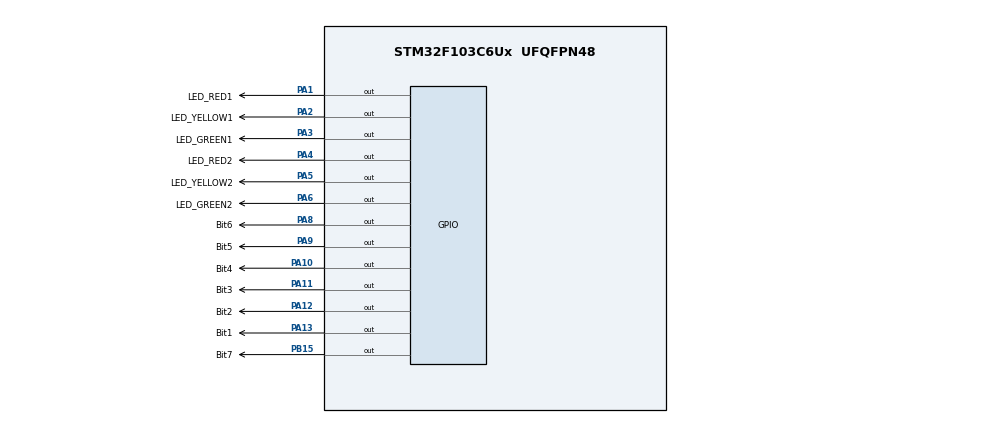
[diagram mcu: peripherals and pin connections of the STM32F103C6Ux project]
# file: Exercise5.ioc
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Mcu.Family=STM32F1
Mcu.Name=STM32F103C6Ux
Mcu.Package=UFQFPN48
NVIC.PriorityGroup=NVIC_PRIORITYGROUP_4
PA1.GPIO_Label=LED_RED1
PA1.Signal=GPIO_Output
PA10.GPIO_Label=Bit4
PA10.Signal=GPIO_Output
PA11.GPIO_Label=Bit3
PA11.Signal=GPIO_Output
PA12.GPIO_Label=Bit2
PA12.Signal=GPIO_Output
PA13.GPIO_Label=Bit1
PA13.Signal=GPIO_Output
PA2.GPIO_Label=LED_YELLOW1
PA2.Signal=GPIO_Output
PA3.GPIO_Label=LED_GREEN1
PA3.Signal=GPIO_Output
PA4.GPIO_Label=LED_RED2
PA4.Signal=GPIO_Output
PA5.GPIO_Label=LED_YELLOW2
PA5.Signal=GPIO_Output
PA6.GPIO_Label=LED_GREEN2
PA6.Signal=GPIO_Output
PA8.GPIO_Label=Bit6
PA8.Signal=GPIO_Output
PA9.GPIO_Label=Bit5
PA9.Signal=GPIO_Output
PB15.GPIO_Label=Bit7
PB15.Signal=GPIO_Output
ProjectManager.HeapSize=0x200
ProjectManager.StackSize=0x400
ProjectManager.TargetToolchain=STM32CubeIDE
RCC.APB1Freq_Value=8000000
RCC.APB2Freq_Value=8000000
VP_SYS_VS_ND.Mode=No_Debug
board=custom

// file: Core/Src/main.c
/* USER CODE BEGIN Header */
/**
  ******************************************************************************
  * @file           : main.c
  * @brief          : Main program body
  ******************************************************************************
  * @attention
  *
  * <h2><center>&copy; Copyright (c) 2025 STMicroelectronics.
  * All rights reserved.</center></h2>
  *
  * This software component is licensed by ST under BSD 3-Clause license,
  * the "License"; You may not use this file except in compliance with the
  * License. You may obtain a copy of the License at:
  *                        opensource.org/licenses/BSD-3-Clause
  *
  ******************************************************************************
  */
/* USER CODE END Header */
#include "main.h"

void SystemClock_Config(void);
static void MX_GPIO_Init(void);

int main(void)
{

  /* MCU Configuration--------------------------------------------------------*/

  /* Reset of all peripherals, Initializes the Flash interface and the Systick. */
  HAL_Init();

  /* Configure the system clock */
  SystemClock_Config();

  /* Initialize all configured peripherals */
  MX_GPIO_Init();

  /* Infinite loop */
  /* USER CODE BEGIN WHILE */
  void display7Seg(int num){
	  uint8_t segments[10]={
			 0b1111110,
			 0b0110000,
			 0b1101101,
			 0b1111001,
			 0b0110011,
			 0b1011011,
			 0b1011111,
			 0b1110000,
			 0b1111111,
			 0b1111011
	  };
	  uint8_t data = segments[num];
	    HAL_GPIO_WritePin(GPIOB, GPIO_PIN_15, !(data & 0x01));
	    HAL_GPIO_WritePin(GPIOA, GPIO_PIN_8, !(data & 0x02));
	    HAL_GPIO_WritePin(GPIOA, GPIO_PIN_9, !(data & 0x04));
	    HAL_GPIO_WritePin(GPIOA, GPIO_PIN_10, !(data & 0x08));
	    HAL_GPIO_WritePin(GPIOA, GPIO_PIN_11, !(data & 0x10));
	    HAL_GPIO_WritePin(GPIOA, GPIO_PIN_12, !(data & 0x20));
	    HAL_GPIO_WritePin(GPIOA, GPIO_PIN_13, !(data & 0x40));
  }
  void RedLightPhase() {
      for (int count = 5; count >= 0; count--) {
          HAL_GPIO_WritePin(LED_RED1_GPIO_Port, LED_RED1_Pin, RESET);
          HAL_GPIO_WritePin(LED_YELLOW1_GPIO_Port, LED_YELLOW1_Pin, SET);
    	  HAL_GPIO_WritePin(LED_GREEN1_GPIO_Port, LED_GREEN1_Pin, SET);
          HAL_GPIO_WritePin(LED_RED2_GPIO_Port, LED_RED2_Pin, SET);
          if (count <= 2) {
              HAL_GPIO_WritePin(LED_YELLOW2_GPIO_Port, LED_YELLOW2_Pin, RESET);
              HAL_GPIO_WritePin(LED_GREEN2_GPIO_Port, LED_GREEN2_Pin, SET);
          } else {
              HAL_GPIO_WritePin(LED_YELLOW2_GPIO_Port, LED_YELLOW2_Pin, SET);
              HAL_GPIO_WritePin(LED_GREEN2_GPIO_Port, LED_GREEN2_Pin, RESET);
          }
          display7Seg(count);
          HAL_Delay(1000);
      }
  }
  void GreenLightPhase(){
      for (int count = 5; count >= 0; count--) {
          HAL_GPIO_WritePin(LED_RED1_GPIO_Port, LED_RED1_Pin, SET);
          HAL_GPIO_WritePin(LED_RED2_GPIO_Port, LED_RED2_Pin, RESET);
          HAL_GPIO_WritePin(LED_YELLOW2_GPIO_Port, LED_YELLOW2_Pin, SET);
    	  HAL_GPIO_WritePin(LED_GREEN2_GPIO_Port, LED_GREEN2_Pin, SET);
          if (count <= 2) {
              HAL_GPIO_WritePin(LED_YELLOW1_GPIO_Port, LED_YELLOW1_Pin, RESET);
              HAL_GPIO_WritePin(LED_GREEN1_GPIO_Port, LED_GREEN1_Pin, SET);
          } else {
              HAL_GPIO_WritePin(LED_YELLOW1_GPIO_Port, LED_YELLOW1_Pin, SET);
              HAL_GPIO_WritePin(LED_GREEN1_GPIO_Port, LED_GREEN1_Pin, RESET);
          }
          display7Seg(count);
          HAL_Delay(1000);
      }
  }
  while (1)
    {
      /* USER CODE END WHILE */
  	  RedLightPhase();
  	  GreenLightPhase();
    }
  }

void SystemClock_Config(void)
{
  RCC_OscInitTypeDef RCC_OscInitStruct = {0};
  RCC_ClkInitTypeDef RCC_ClkInitStruct = {0};

  /** Initializes the RCC Oscillators according to the specified parameters
  * in the RCC_OscInitTypeDef structure.
  */
  RCC_OscInitStruct.OscillatorType = RCC_OSCILLATORTYPE_HSI;
  RCC_OscInitStruct.HSIState = RCC_HSI_ON;
  RCC_OscInitStruct.HSICalibrationValue = RCC_HSICALIBRATION_DEFAULT;
  RCC_OscInitStruct.PLL.PLLState = RCC_PLL_NONE;
  if (HAL_RCC_OscConfig(&RCC_OscInitStruct) != HAL_OK)
  {
    Error_Handler();
  }
  /** Initializes the CPU, AHB and APB buses clocks
  */
  RCC_ClkInitStruct.ClockType = RCC_CLOCKTYPE_HCLK|RCC_CLOCKTYPE_SYSCLK
                              |RCC_CLOCKTYPE_PCLK1|RCC_CLOCKTYPE_PCLK2;
  RCC_ClkInitStruct.SYSCLKSource = RCC_SYSCLKSOURCE_HSI;
  RCC_ClkInitStruct.AHBCLKDivider = RCC_SYSCLK_DIV1;
  RCC_ClkInitStruct.APB1CLKDivider = RCC_HCLK_DIV1;
  RCC_ClkInitStruct.APB2CLKDivider = RCC_HCLK_DIV1;

  if (HAL_RCC_ClockConfig(&RCC_ClkInitStruct, FLASH_LATENCY_0) != HAL_OK)
  {
    Error_Handler();
  }
}

static void MX_GPIO_Init(void)
{
  GPIO_InitTypeDef GPIO_InitStruct = {0};

  /* GPIO Ports Clock Enable */
  __HAL_RCC_GPIOA_CLK_ENABLE();
  __HAL_RCC_GPIOB_CLK_ENABLE();

  /*Configure GPIO pin Output Level */
  HAL_GPIO_WritePin(GPIOA, LED_RED1_Pin|LED_YELLOW1_Pin|LED_GREEN1_Pin|LED_RED2_Pin
                          |LED_YELLOW2_Pin|LED_GREEN2_Pin|Bit6_Pin|Bit5_Pin
                          |Bit4_Pin|Bit3_Pin|Bit2_Pin|Bit1_Pin, GPIO_PIN_RESET);

  /*Configure GPIO pin Output Level */
  HAL_GPIO_WritePin(Bit7_GPIO_Port, Bit7_Pin, GPIO_PIN_RESET);

  /*Configure GPIO pins : LED_RED1_Pin LED_YELLOW1_Pin LED_GREEN1_Pin LED_RED2_Pin
                           LED_YELLOW2_Pin LED_GREEN2_Pin Bit6_Pin Bit5_Pin
                           Bit4_Pin Bit3_Pin Bit2_Pin Bit1_Pin */
  GPIO_InitStruct.Pin = LED_RED1_Pin|LED_YELLOW1_Pin|LED_GREEN1_Pin|LED_RED2_Pin
                          |LED_YELLOW2_Pin|LED_GREEN2_Pin|Bit6_Pin|Bit5_Pin
                          |Bit4_Pin|Bit3_Pin|Bit2_Pin|Bit1_Pin;
  GPIO_InitStruct.Mode = GPIO_MODE_OUTPUT_PP;
  GPIO_InitStruct.Pull = GPIO_NOPULL;
  GPIO_InitStruct.Speed = GPIO_SPEED_FREQ_LOW;
  HAL_GPIO_Init(GPIOA, &GPIO_InitStruct);

  /*Configure GPIO pin : Bit7_Pin */
  GPIO_InitStruct.Pin = Bit7_Pin;
  GPIO_InitStruct.Mode = GPIO_MODE_OUTPUT_PP;
  GPIO_InitStruct.Pull = GPIO_NOPULL;
  GPIO_InitStruct.Speed = GPIO_SPEED_FREQ_LOW;
  HAL_GPIO_Init(Bit7_GPIO_Port, &GPIO_InitStruct);

}

void Error_Handler(void)
{
  __disable_irq();
  while (1)
  {
  }
}

/************************ (C) COPYRIGHT STMicroelectronics *****END OF FILE****/
